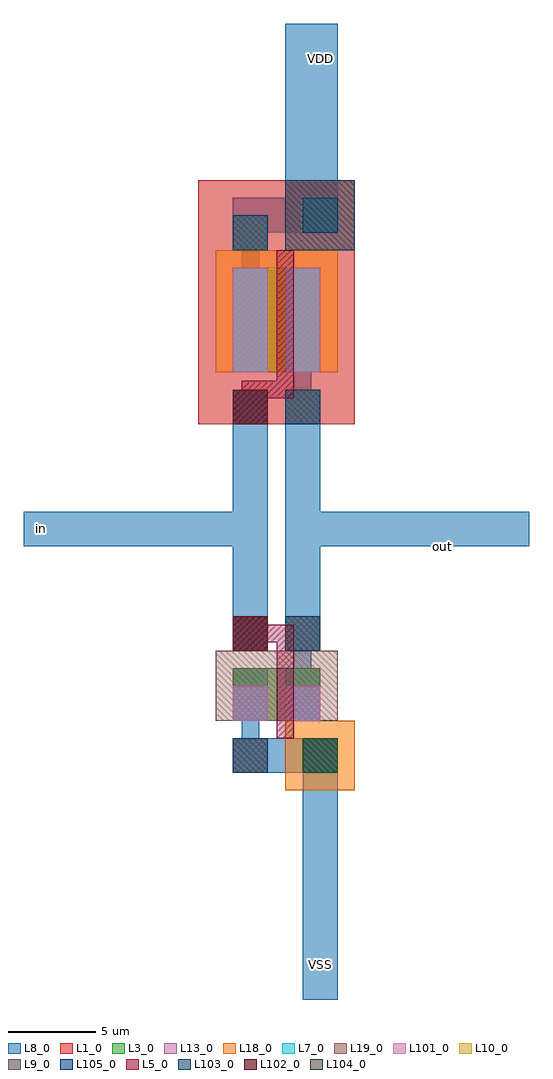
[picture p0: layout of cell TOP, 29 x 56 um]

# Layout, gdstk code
import gdstk
lib = gdstk.Library(unit=1e-6, precision=1e-06)
def R(c, l, rs):  # rectangles x0, y0, x1, y1
    for r in rs: c.add(gdstk.rectangle(r[:2], r[2:], *l))
def P(c, l, *ps):  # polygons
    for p in ps: c.add(gdstk.Polygon(p, *l))
L1_0 = (1, 0)
L3_0 = (3, 0)
L5_0 = (5, 0)
L7_0 = (7, 0)
L8_0 = (8, 0)
L9_0 = (9, 0)
L10_0 = (10, 0)
L13_0 = (13, 0)
L18_0 = (18, 0)
L19_0 = (19, 0)
L101_0 = (101, 0)
L102_0 = (102, 0)
L103_0 = (103, 0)
L104_0 = (104, 0)
L105_0 = (105, 0)

dcont = lib.new_cell('dcont')
R(dcont, L3_0, [(-1,-1,1,1)])
R(dcont, L7_0, [(-1,-1,1,1)])
R(dcont, L8_0, [(-1,-1,1,1)])
R(dcont, L13_0, [(-1,-1,1,1)])
R(dcont, L101_0, [(-1,-1,1,1)])

pcont = lib.new_cell('pcont')
R(pcont, L5_0, [(-1,-1,1,1)])
R(pcont, L7_0, [(-1,-1,1,1)])
R(pcont, L8_0, [(-1,-1,1,1)])
R(pcont, L13_0, [(-1,-1,1,1)])
R(pcont, L102_0, [(-1,-1,1,1)])

via = lib.new_cell('Via')
R(via, L8_0, [(-1,-1,1,1)])
R(via, L9_0, [(-1,-1,1,1)])
R(via, L10_0, [(-1,-1,1,1)])
R(via, L13_0, [(-1,-1,1,1)])
R(via, L105_0, [(-1,-1,1,1)])

dcont1 = lib.new_cell('dcont1')
R(dcont1, L3_0, [(-1,-1,1,1)])
R(dcont1, L7_0, [(-1,-1,1,1)])
R(dcont1, L8_0, [(-1,-1,1,1)])
R(dcont1, L13_0, [(-1,-1,1,1)])
R(dcont1, L101_0, [(-1,-1,1,1)])

psubcont = lib.new_cell('psubcont')
R(psubcont, L18_0, [(-2,-2,2,2)])
R(psubcont, L104_0, [(-1,-1,1,1)])
psubcont.add(gdstk.Reference(dcont1, (0,0)))

nch_2 = lib.new_cell('Nch$2')
R(nch_2, L3_0, [(0,3,5,6)])
R(nch_2, L19_0, [(-1,3,6,7)])
nch_2.add(gdstk.FlexPath([(3,3),(3,6)], 1, ends=(1, 1), simple_path=True, layer=5, datatype=0))  # L5_0
nch_2.add(gdstk.FlexPath([(1,8),(3,8),(3,7)], 1, ends="extended", simple_path=True, layer=5, datatype=0))  # L5_0
nch_2.add(gdstk.FlexPath([(1,3),(1,6)], 2, ends="flush", simple_path=True, layer=8, datatype=0))  # L8_0
nch_2.add(gdstk.FlexPath([(4,3),(4,6)], 2, ends="flush", simple_path=True, layer=8, datatype=0))  # L8_0
nch_2.add(gdstk.FlexPath([(1,1),(1,4)], 1, ends="extended", simple_path=True, layer=8, datatype=0))  # L8_0
nch_2.add(gdstk.FlexPath([(4,5),(4,8)], 1, ends="extended", simple_path=True, layer=8, datatype=0))  # L8_0
nch_2.add(gdstk.Reference(dcont, (1,4)))
nch_2.add(gdstk.Reference(dcont, (4,4)))
nch_2.add(gdstk.Reference(pcont, (1,8)))
nch_2.add(gdstk.Reference(via, (1,8)))
nch_2.add(gdstk.Reference(via, (1,1)))
nch_2.add(gdstk.Reference(via, (4,8)))
nch_2.add(gdstk.Reference(psubcont, (5,1)))
nch_2.add(gdstk.Reference(via, (5,1)))

nsubcont = lib.new_cell('nsubcont')
R(nsubcont, L1_0, [(-2,-2,2,2)])
R(nsubcont, L19_0, [(-2,-2,2,2)])
R(nsubcont, L103_0, [(-2,-2,2,2)])
nsubcont.add(gdstk.Reference(dcont1, (0,0)))

pch_1 = lib.new_cell('Pch$1')
R(pch_1, L1_0, [(-2,0,7,14)])
R(pch_1, L3_0, [(0,3,5,9)])
R(pch_1, L18_0, [(-1,3,6,10)])
pch_1.add(gdstk.FlexPath([(3,3),(3,9)], 1, ends=(1, 1), simple_path=True, layer=5, datatype=0))  # L5_0
pch_1.add(gdstk.FlexPath([(1,2),(3,2),(3,2)], 1, ends="extended", simple_path=True, layer=5, datatype=0))  # L5_0
pch_1.add(gdstk.FlexPath([(1,3),(1,9)], 2, ends="flush", simple_path=True, layer=8, datatype=0))  # L8_0
pch_1.add(gdstk.FlexPath([(4,3),(4,9)], 2, ends="flush", simple_path=True, layer=8, datatype=0))  # L8_0
pch_1.add(gdstk.FlexPath([(1,8),(1,11)], 1, ends="extended", simple_path=True, layer=8, datatype=0))  # L8_0
pch_1.add(gdstk.FlexPath([(4,1),(4,4)], 1, ends="extended", simple_path=True, layer=8, datatype=0))  # L8_0
pch_1.add(gdstk.Reference(dcont, (1,4)))
pch_1.add(gdstk.Reference(dcont, (1,6)))
pch_1.add(gdstk.Reference(dcont, (1,8)))
pch_1.add(gdstk.Reference(dcont, (4,4)))
pch_1.add(gdstk.Reference(dcont, (4,6)))
pch_1.add(gdstk.Reference(dcont, (4,8)))
pch_1.add(gdstk.Reference(pcont, (1,1)))
pch_1.add(gdstk.Reference(via, (1,1)))
pch_1.add(gdstk.Reference(via, (1,11)))
pch_1.add(gdstk.Reference(via, (4,1)))
pch_1.add(gdstk.Reference(nsubcont, (5,12)))
pch_1.add(gdstk.Reference(via, (5,12)))

top = lib.new_cell('TOP')
R(top, L8_0, [(-2,-36,0,-21), (-6,-23,0,-21), (-6,-16,-4,-1), (-3,-16,-1,-1), (-18,-10,-5,-8), (-2,-10,11,-8), (-6,8,-2,10), (-3,9,0,20)])
P(top, L8_0, [(-8,-1),(-8,0),(-8,0),(-8,-1)])
top.add(gdstk.Reference(nch_2, (-6,-23)))
top.add(gdstk.Reference(pch_1, (-6,-3)))
top.add(gdstk.Label('in', (-17,-9), layer=19, texttype=0))
top.add(gdstk.Label('VDD', (-1,18), layer=19, texttype=0))
top.add(gdstk.Label('VSS', (-1,-34), layer=19, texttype=0))
top.add(gdstk.Label('out', (6,-10), layer=19, texttype=0))

lib.write_gds('TOP.gds')
